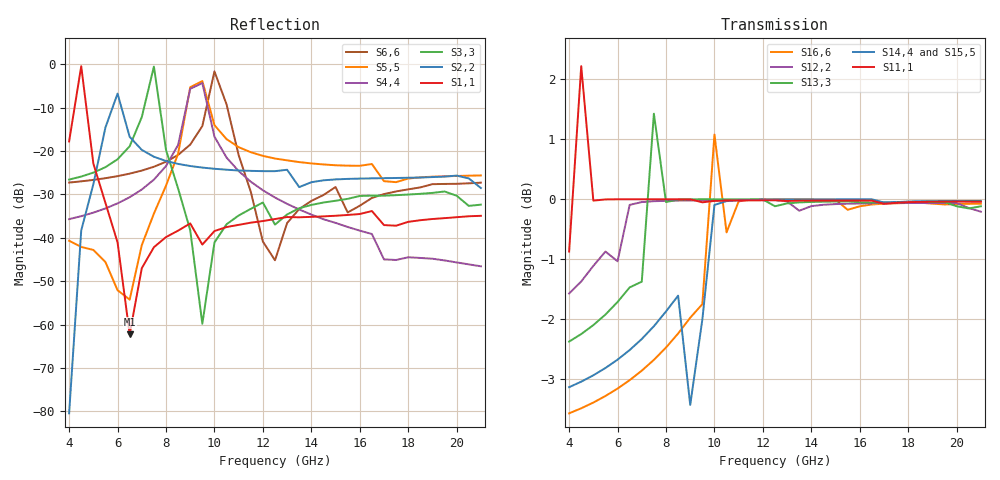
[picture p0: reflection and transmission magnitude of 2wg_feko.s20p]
! S-parameter export from POSTFEKO
! Filename: circular_2wg_10modes
! Creation date: 2020-02-24 14:28:58
# Hz S MA R  5.0000000E+01
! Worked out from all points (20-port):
!   35 points, 4 GHz to 21 GHz, reference 50 ohm
!   strongest paths, dB at 4 GHz, 8 GHz, 12.5 GHz, 17 GHz, 21 GHz:
!     S11,1: -0.9, 0.0, 0.0, -0.1, 0.0
!     S14,4: -3.1, -1.9, 0.0, -0.1, 0.0
!     S13,3: -2.4, 0.0, -0.1, 0.0, -0.1
!     S12,2: -1.6, 0.0, 0.0, -0.1, -0.2
!     S16,6: -3.6, -2.5, 0.0, -0.1, -0.1
!     S15,5: -3.1, -1.7, 0.0, -0.2, -0.1
!   lowest |S11| = -62.2 dB at 6.5 GHz (marker M1), VSWR 1.00, Z = 50 + j0.0692 ohm
!   |S11| at or under -10 dB: start of sweep to 4.224 GHz; 4.713 GHz to end of sweep
